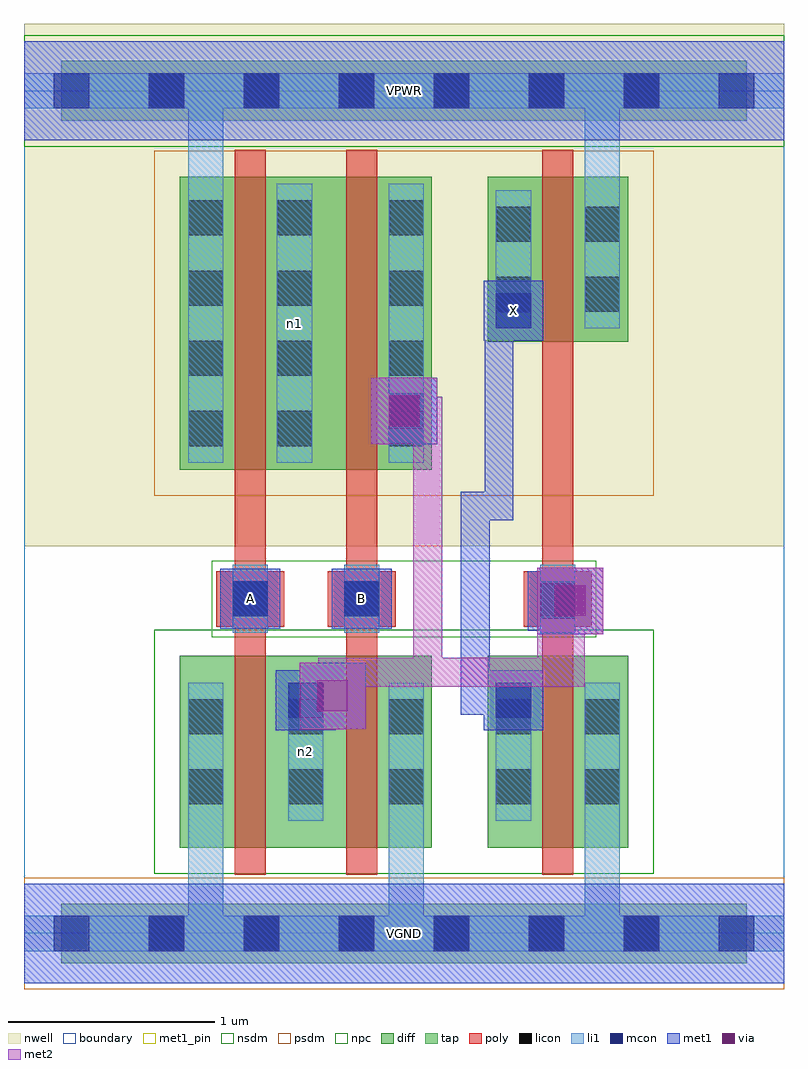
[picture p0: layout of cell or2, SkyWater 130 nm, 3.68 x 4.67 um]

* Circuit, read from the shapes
.subckt or2 A B VGND VPWR X n1 n2
XM1 n2 A VGND VGND sky130_fd_pr__nfet_01v8 w=0.93 l=0.15
XM2 VGND B n2 VGND sky130_fd_pr__nfet_01v8 w=0.93 l=0.15
XM3 VGND n2 X VGND sky130_fd_pr__nfet_01v8 w=0.93 l=0.15
XM4 n1 A VPWR VPWR sky130_fd_pr__pfet_01v8 w=1.42 l=0.15
XM5 n2 B n1 VPWR sky130_fd_pr__pfet_01v8 w=1.42 l=0.15
XM6 VPWR n2 X VPWR sky130_fd_pr__pfet_01v8 w=0.8 l=0.15
.ends

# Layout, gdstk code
import gdstk
lib = gdstk.Library(unit=1e-6, precision=1e-09)
def R(c, l, rs):  # rectangles x0, y0, x1, y1
    for r in rs: c.add(gdstk.rectangle(r[:2], r[2:], *l))
def A(c, l, x, y, w, h, nx, ny, dx, dy):  # array of equal rectangles
    R(c, l, [(x+i*dx, y+j*dy, x+i*dx+w, y+j*dy+h) for i in range(nx) for j in range(ny)])
nwell = (64, 20)
diff = (65, 20)
tap = (65, 44)
poly = (66, 20)
licon = (66, 44)
li1 = (67, 20)
mcon = (67, 44)
met1_pin = (68, 16)
met1 = (68, 20)
via = (68, 44)
met2 = (69, 20)
nsdm = (93, 44)
psdm = (94, 20)
npc = (95, 20)
boundary = (235, 4)

or2 = lib.new_cell('or2')
R(or2, nwell, [(0,1.875,3.68,4.405)])
R(or2, diff, [(0.755,0.415,1.975,1.345), (2.245,0.415,2.925,1.345), (0.755,2.245,1.975,3.665), (2.245,2.865,2.925,3.665)])
R(or2, tap, [(0.18,-0.145,3.5,0.145), (0.18,3.935,3.5,4.225)])
R(or2, poly, [(1.02,0.285,1.17,3.795), (1.56,0.285,1.71,3.795), (2.51,0.285,2.66,3.795), (0.93,1.485,1.26,1.755), (1.47,1.485,1.8,1.755), (2.42,1.485,2.75,1.755)])
A(or2, licon, 0.605, -0.085, 0.17, 0.17, 6, 2, 0.46, 4.08)
A(or2, licon, 0.795, 0.625, 0.17, 0.17, 3, 2, 0.485, 0.34)
A(or2, licon, 0.795, 2.36, 0.17, 0.17, 1, 4, 0, 0.34)
A(or2, licon, 1.225, 2.36, 0.17, 0.17, 1, 4, 0, 0.34)
A(or2, licon, 1.765, 2.36, 0.17, 0.17, 1, 4, 0, 0.34)
R(or2, licon, [(2.285,0.625,2.455,0.795), (2.715,0.625,2.885,0.795), (2.285,0.965,2.455,1.135), (2.715,0.965,2.885,1.135), (1.01,1.535,1.18,1.705), (1.55,1.535,1.72,1.705), (2.5,1.535,2.67,1.705), (2.285,3.01,2.455,3.18), (2.715,3.01,2.885,3.18), (2.285,3.35,2.455,3.52), (2.715,3.35,2.885,3.52)])
A(or2, li1, 0.795, 0.545, 0.17, 0.67, 3, 1, 0.485, 0)
R(or2, li1, [(0,-0.085,3.68,0.085), (0.795,-0.085,0.965,1.215), (1.765,-0.085,1.935,1.215), (2.715,-0.085,2.885,1.215), (2.285,0.545,2.455,1.215), (2.715,0.545,2.885,1.215), (1.01,1.455,1.18,1.785), (1.55,1.455,1.72,1.785), (2.5,1.455,2.67,1.785), (0.795,2.28,0.965,3.63), (0.795,2.28,0.965,4.165), (1.225,2.28,1.395,3.63), (1.765,2.28,1.935,3.63), (2.285,2.93,2.455,3.6), (2.715,2.93,2.885,3.6), (2.715,2.93,2.885,4.165), (0,3.995,3.68,4.165)])
A(or2, mcon, 0.145, -0.085, 0.17, 0.17, 8, 2, 0.46, 4.08)
R(or2, mcon, [(1.28,1.045,1.45,1.215), (2.285,1.045,2.455,1.215), (2.5,1.525,2.67,1.695), (1.01,1.535,1.18,1.705), (1.55,1.535,1.72,1.705), (1.765,2.445,1.935,2.615), (2.285,2.93,2.455,3.1)])
R(or2, met1_pin, [(0,-0.24,3.68,0.24), (0.95,1.475,1.24,1.765), (1.49,1.475,1.78,1.765), (2.225,2.87,2.515,3.16), (0,3.84,3.68,4.32)])
R(or2, met1, [(0,-0.24,3.68,0.24), (1.22,0.985,1.51,1.275), (2.225,0.985,2.515,1.275), (1.335,0.99,1.655,1.31), (1.295,1.06,1.565,1.2), (1.425,1.06,1.565,1.22), (2.115,1.06,2.44,1.2), (2.115,1.06,2.255,1.335), (2.115,1.195,2.255,2.14), (2.485,1.45,2.805,1.77), (2.44,1.465,2.73,1.755), (0.95,1.475,1.24,1.765), (1.49,1.475,1.78,1.765), (2.515,1.54,2.715,1.68), (2.115,2,2.37,2.14), (2.23,2,2.37,2.945), (1.68,2.37,2,2.69), (1.705,2.385,1.995,2.675), (1.77,2.46,1.92,2.6), (2.23,2.805,2.37,3.085), (2.225,2.87,2.515,3.16), (2.23,2.945,2.44,3.085), (0,3.84,3.68,4.32)])
R(or2, via, [(1.42,1.075,1.57,1.225), (2.57,1.535,2.72,1.685), (1.765,2.455,1.915,2.605)])
R(or2, met2, [(1.335,0.99,1.655,1.31), (1.425,1.08,1.565,1.335), (1.425,1.195,2.715,1.335), (1.885,1.195,2.025,2.6), (2.575,1.195,2.715,1.68), (2.485,1.335,2.715,1.45), (2.485,1.45,2.805,1.77), (1.68,2.37,2,2.69), (1.77,2.46,2.025,2.6)])
R(or2, nsdm, [(0.63,0.29,3.05,1.47), (0,3.81,3.68,4.35)])
R(or2, psdm, [(0,-0.27,3.68,0.27), (0.63,2.12,3.05,3.79)])
R(or2, npc, [(0.91,1.435,2.77,1.805)])
R(or2, boundary, [(0,0,3.68,4.08)])
or2.add(gdstk.Label('n2', (1.365,0.88), layer=67, texttype=5))
or2.add(gdstk.Label('n1', (1.31,2.955), layer=67, texttype=5))
or2.add(gdstk.Label('A', (1.095,1.62), layer=68, texttype=5))
or2.add(gdstk.Label('B', (1.635,1.62), layer=68, texttype=5))
or2.add(gdstk.Label('X', (2.37,3.015), layer=68, texttype=5))
or2.add(gdstk.Label('VPWR', (1.84,4.08), layer=68, texttype=5))
or2.add(gdstk.Label('VGND', (1.84,0), layer=68, texttype=5))
or2.add(gdstk.Label('A', (1.095,1.62), layer=68, texttype=16))
or2.add(gdstk.Label('B', (1.635,1.62), layer=68, texttype=16))
or2.add(gdstk.Label('X', (2.37,3.015), layer=68, texttype=16))
or2.add(gdstk.Label('VPWR', (1.84,4.08), layer=68, texttype=16))
or2.add(gdstk.Label('VGND', (1.84,0), layer=68, texttype=16))

lib.write_gds('or2.gds')
